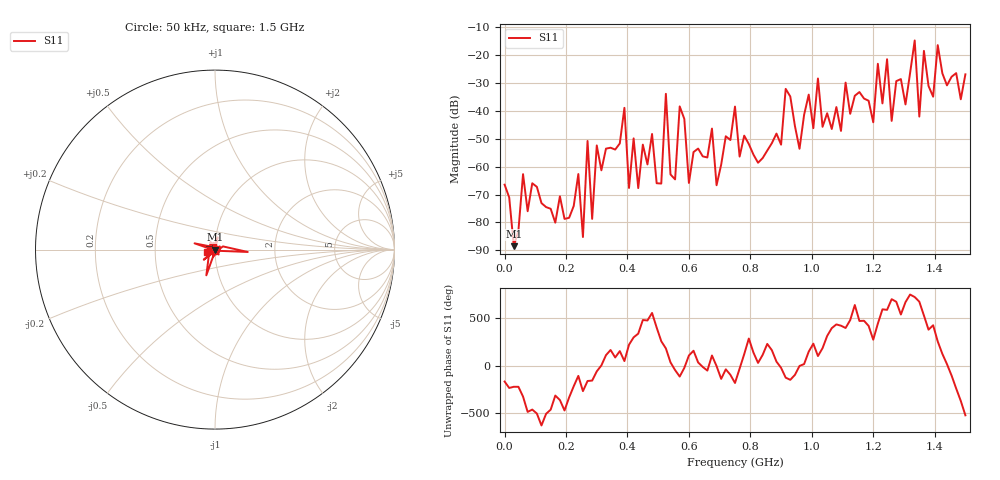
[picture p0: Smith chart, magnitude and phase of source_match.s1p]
! Created with skrf 1.8.0 (http://scikit-rf.org).
# Hz S RI R 50.0
!freq ReS11 ImS11
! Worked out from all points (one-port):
!   101 points, 50 kHz to 1.5 GHz, reference 50 ohm
!   lowest |S11| = -88.5 dB at 30.05 MHz (marker M1), VSWR 1.00, Z = 50 + j0.0025 ohm
!   |S11| at or under -10 dB: start of sweep to end of sweep
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50000  -0.000464 -0.000106
3.0049e7  -2.8e-05 2.5e-05
6.0048e7  0.000596 0.000428
1.950435e8  -3.86e-05 -0.000109
2.40042e8  -0.000228 -0.000702
2.550415e8  -2.56e-06 5.48e-05
2.70041e8  -0.00274 -0.000916
2.850405e8  -0.000107 -4.53e-05
3.0004e8  0.00117 -0.00209
3.750375e8  -0.00228 0.00127
5.10033e8  -0.000137 -0.000479
5.250325e8  -0.0202 0.000354
5.550315e8  0.000398 -0.000438
5.70031e8  -0.0051 -0.0109
6.0003e8  -0.000137 0.000492
6.750275e8  -0.00124 0.00465
6.90027e8  0.000462 -4.72e-05
7.50025e8  -0.0119 0.000456
8.250225e8  0.00104 0.000547
9.0002e8  0.00227 -0.001
9.150195e8  -0.0148 -0.0199
9.450185e8  -0.000738 -0.00534
1.125012e9  -0.00376 0.00802
1.320006e9  0.0443 0.0179
1.335006e9  0.1826 -0.0133
1.350005e9  0.00479 -0.00629
1.365004e9  -0.1139 0.0349
1.5e9  -0.0425 -0.0155
